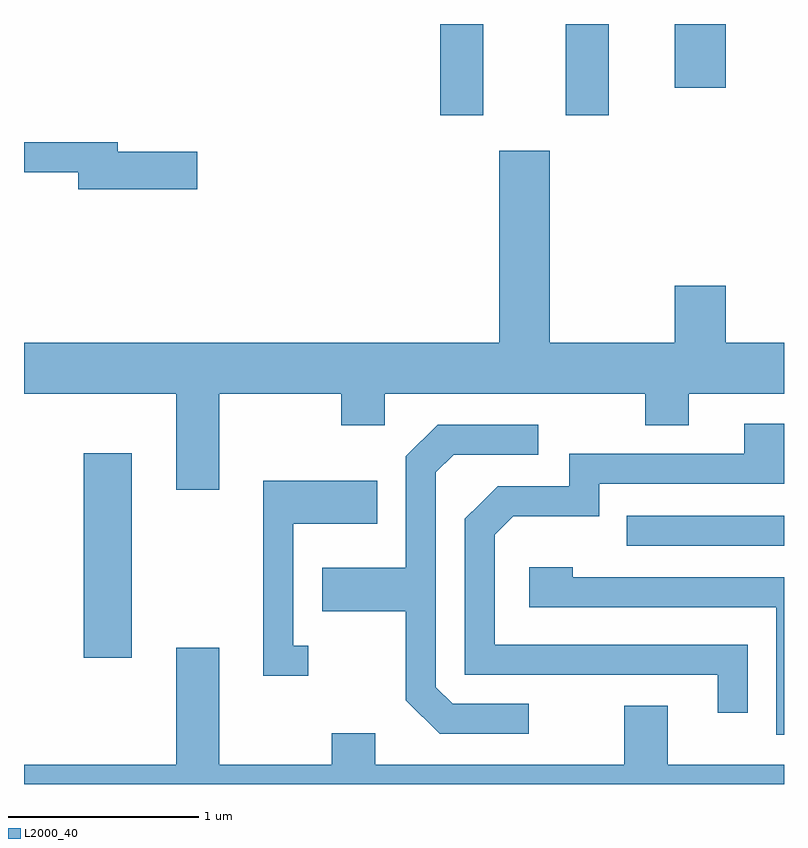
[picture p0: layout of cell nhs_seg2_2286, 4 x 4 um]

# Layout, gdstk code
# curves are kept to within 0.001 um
import gdstk
lib = gdstk.Library(unit=1e-6, precision=1e-09)
def R(c, l, rs):  # rectangles x0, y0, x1, y1
    for r in rs: c.add(gdstk.rectangle(r[:2], r[2:], *l))
def P(c, l, *ps):  # polygons
    for p in ps: c.add(gdstk.Polygon(p, *l))
L2000_40 = (2000, 40)

nhs_seg2_2286 = lib.new_cell('nhs_seg2_2286')
R(nhs_seg2_2286, L2000_40, [(251.926,1062.466,252.179,1063.544), (254.783,1063.056,255.611,1063.214), (253.801,1065.321,254.029,1065.802), (254.461,1065.321,254.689,1065.802), (255.036,1065.466,255.304,1065.802)])
P(nhs_seg2_2286, L2000_40, [(252.524,1065.129),(252.104,1065.129),(252.104,1065.179),(251.611,1065.179),(251.611,1065.021),(251.896,1065.021),(251.896,1064.931),(252.524,1064.931)],
  [(252.639,1063.856),(253.281,1063.856),(253.281,1063.691),(253.509,1063.691),(253.509,1063.856),(254.881,1063.856),(254.881,1063.691),(255.109,1063.691),(255.109,1063.856),(255.611,1063.856),(255.611,1064.124),(255.304,1064.124),(255.304,1064.424),(255.036,1064.424),(255.036,1064.124),(254.379,1064.124),(254.379,1065.134),(254.111,1065.134),(254.111,1064.124),(251.611,1064.124),(251.611,1063.856),(252.411,1063.856),(252.411,1063.351),(252.639,1063.351)],
  [(255.419,1062.534),(254.089,1062.534),(254.089,1063.114),(254.187,1063.211),(254.639,1063.211),(254.639,1063.381),(255.611,1063.381),(255.611,1063.699),(255.401,1063.699),(255.401,1063.539),(254.481,1063.539),(254.481,1063.369),(254.104,1063.369),(253.931,1063.197),(253.931,1062.376),(255.261,1062.376),(255.261,1062.178),(255.419,1062.178)],
  [(254.268,1062.224),(253.867,1062.224),(253.779,1062.312),(253.779,1063.444),(253.872,1063.536),(254.318,1063.536),(254.318,1063.694),(253.789,1063.694),(253.621,1063.527),(253.621,1062.939),(253.181,1062.939),(253.181,1062.711),(253.621,1062.711),(253.621,1062.244),(253.799,1062.066),(254.268,1062.066)],
  [(253.108,1062.529),(253.029,1062.529),(253.029,1063.171),(253.469,1063.171),(253.469,1063.399),(252.871,1063.399),(252.871,1062.371),(253.108,1062.371)],
  [(255.611,1062.889),(254.499,1062.889),(254.499,1062.944),(254.271,1062.944),(254.271,1062.731),(255.571,1062.731),(255.571,1062.061),(255.611,1062.061)],
  [(255.611,1061.904),(254.999,1061.904),(254.999,1062.214),(254.771,1062.214),(254.771,1061.904),(253.459,1061.904),(253.459,1062.069),(253.231,1062.069),(253.231,1061.904),(252.639,1061.904),(252.639,1062.519),(252.411,1062.519),(252.411,1061.904),(251.611,1061.904),(251.611,1061.802),(255.611,1061.802)])

lib.write_gds('nhs_seg2_2286.gds')
